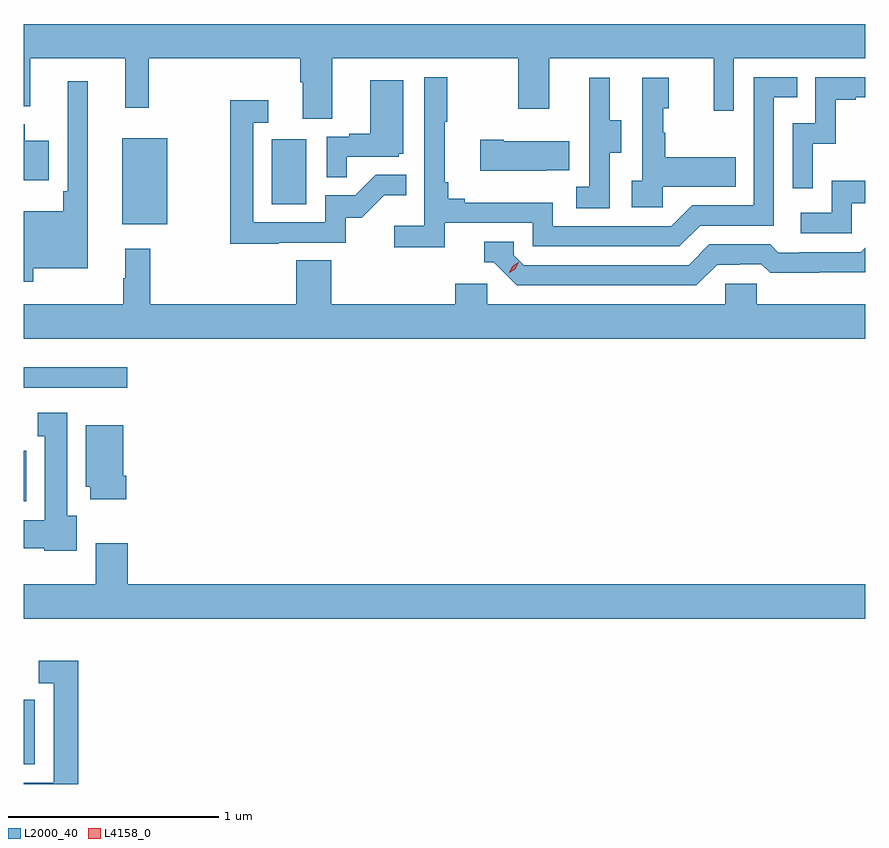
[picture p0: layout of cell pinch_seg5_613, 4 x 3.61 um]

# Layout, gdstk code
import gdstk
lib = gdstk.Library(unit=1e-6, precision=1e-09)
def R(c, l, rs):  # rectangles x0, y0, x1, y1
    for r in rs: c.add(gdstk.rectangle(r[:2], r[2:], *l))
def P(c, l, *ps):  # polygons
    for p in ps: c.add(gdstk.Polygon(p, *l))
L2000_40 = (2000, 40)
L4158_0 = (4158, 0)

pinch_seg5_613 = lib.new_cell('pinch_seg5_613')
R(pinch_seg5_613, L2000_40, [(1066.571,869.388,1066.624,869.695), (1066.571,870.638,1066.582,870.88), (1066.571,871.179,1067.062,871.276), (1067.039,871.955,1067.254,872.365), (1067.75,872.052,1067.914,872.359)])
P(pinch_seg5_613, L2000_40, [(1068.037,872.744),(1068.922,872.744),(1068.922,872.505),(1069.069,872.505),(1069.069,872.744),(1069.85,872.744),(1069.85,872.496),(1069.947,872.496),(1069.947,872.744),(1070.571,872.744),(1070.571,872.908),(1066.571,872.908),(1066.571,872.516),(1066.601,872.516),(1066.601,872.744),(1067.054,872.744),(1067.054,872.511),(1067.164,872.511),(1067.164,872.744),(1067.885,872.744),(1067.885,872.632),(1067.897,872.632),(1067.897,872.458),(1068.037,872.458)],
  [(1068.572,871.962),(1068.99,871.962),(1068.99,871.851),(1069.687,871.851),(1069.786,871.95),(1070.136,871.95),(1070.136,872.559),(1070.249,872.559),(1070.249,872.655),(1070.04,872.655),(1070.04,872.046),(1069.749,872.046),(1069.65,871.947),(1069.086,871.947),(1069.086,872.059),(1068.667,872.059),(1068.667,872.078),(1068.59,872.078),(1068.59,872.155),(1068.571,872.155),(1068.571,872.443),(1068.583,872.443),(1068.583,872.656),(1068.474,872.656),(1068.474,871.948),(1068.333,871.948),(1068.333,871.846),(1068.572,871.846)],
  [(1070.322,872.339),(1070.432,872.339),(1070.432,872.547),(1070.527,872.547),(1070.527,872.559),(1070.571,872.559),(1070.571,872.655),(1070.334,872.655),(1070.334,872.436),(1070.226,872.436),(1070.226,872.127),(1070.322,872.127)],
  [(1069.356,872.296),(1069.411,872.296),(1069.411,872.451),(1069.357,872.451),(1069.357,872.653),(1069.259,872.653),(1069.259,872.439),(1069.26,872.439),(1069.26,872.135),(1069.197,872.135),(1069.197,872.032),(1069.356,872.032)],
  [(1069.608,872.135),(1069.955,872.135),(1069.955,872.275),(1069.621,872.275),(1069.621,872.39),(1069.611,872.39),(1069.611,872.508),(1069.636,872.508),(1069.636,872.653),(1069.512,872.653),(1069.512,872.162),(1069.461,872.162),(1069.461,872.037),(1069.608,872.037)],
  [(1068.107,872.277),(1068.354,872.277),(1068.354,872.292),(1068.376,872.292),(1068.376,872.641),(1068.218,872.641),(1068.218,872.386),(1068.119,872.386),(1068.119,872.373),(1068.012,872.373),(1068.012,872.179),(1068.107,872.179)],
  [(1066.615,871.748),(1066.876,871.748),(1066.876,872.635),(1066.779,872.635),(1066.779,872.113),(1066.759,872.113),(1066.759,872.017),(1066.571,872.017),(1066.571,871.683),(1066.615,871.683)],
  [(1067.783,871.869),(1068.102,871.869),(1068.102,871.986),(1068.178,871.986),(1068.285,872.093),(1068.389,872.093),(1068.389,872.192),(1068.245,872.192),(1068.147,872.094),(1068.003,872.094),(1068.003,871.965),(1067.661,871.965),(1067.661,872.439),(1067.734,872.439),(1067.734,872.545),(1067.553,872.545),(1067.553,871.864),(1067.783,871.864)],
  [(1066.69,872.353),(1066.576,872.353),(1066.576,872.431),(1066.571,872.431),(1066.571,872.165),(1066.69,872.165)],
  [(1069.055,872.213),(1069.163,872.213),(1069.163,872.35),(1068.853,872.35),(1068.853,872.358),(1068.741,872.358),(1068.741,872.21),(1069.055,872.21)],
  [(1070.508,872.055),(1070.571,872.055),(1070.571,872.164),(1070.412,872.164),(1070.412,872.01),(1070.265,872.01),(1070.265,871.914),(1070.508,871.914)],
  [(1069.867,871.764),(1069.974,871.764),(1069.974,871.767),(1070.077,871.767),(1070.119,871.725),(1070.352,871.725),(1070.352,871.727),(1070.571,871.727),(1070.571,871.845),(1070.55,871.824),(1070.257,871.824),(1070.257,871.821),(1070.158,871.821),(1070.119,871.86),(1069.83,871.86),(1069.731,871.761),(1068.948,871.761),(1068.9,871.809),(1068.9,871.872),(1068.761,871.872),(1068.761,871.776),(1068.804,871.776),(1068.915,871.665),(1069.768,871.665)],
  [(1070.571,871.576),(1070.055,871.576),(1070.055,871.674),(1069.905,871.674),(1069.905,871.576),(1068.774,871.576),(1068.774,871.674),(1068.623,871.674),(1068.623,871.576),(1068.032,871.576),(1068.032,871.784),(1067.867,871.784),(1067.867,871.576),(1067.171,871.576),(1067.171,871.84),(1067.054,871.84),(1067.054,871.7),(1067.043,871.7),(1067.043,871.576),(1066.571,871.576),(1066.571,871.412),(1070.571,871.412)],
  [(1066.822,870.57),(1066.777,870.57),(1066.777,871.06),(1066.637,871.06),(1066.637,870.947),(1066.67,870.947),(1066.67,870.55),(1066.571,870.55),(1066.571,870.416),(1066.668,870.416),(1066.668,870.404),(1066.822,870.404)],
  [(1067.057,870.76),(1067.044,870.76),(1067.044,871),(1066.865,871),(1066.865,870.708),(1066.886,870.708),(1066.886,870.648),(1067.057,870.648)],
  [(1070.571,870.244),(1067.066,870.244),(1067.066,870.439),(1066.913,870.439),(1066.913,870.244),(1066.571,870.244),(1066.571,870.08),(1070.571,870.08)],
  [(1066.829,869.881),(1066.641,869.881),(1066.641,869.775),(1066.713,869.775),(1066.713,869.301),(1066.571,869.301),(1066.571,869.295),(1066.829,869.295)])
P(pinch_seg5_613, L4158_0, [(1068.877,871.723),(1068.877,871.723),(1068.892,871.756),(1068.922,871.776),(1068.923,871.776),(1068.923,871.776),(1068.907,871.743),(1068.877,871.723)])

lib.write_gds('pinch_seg5_613.gds')
